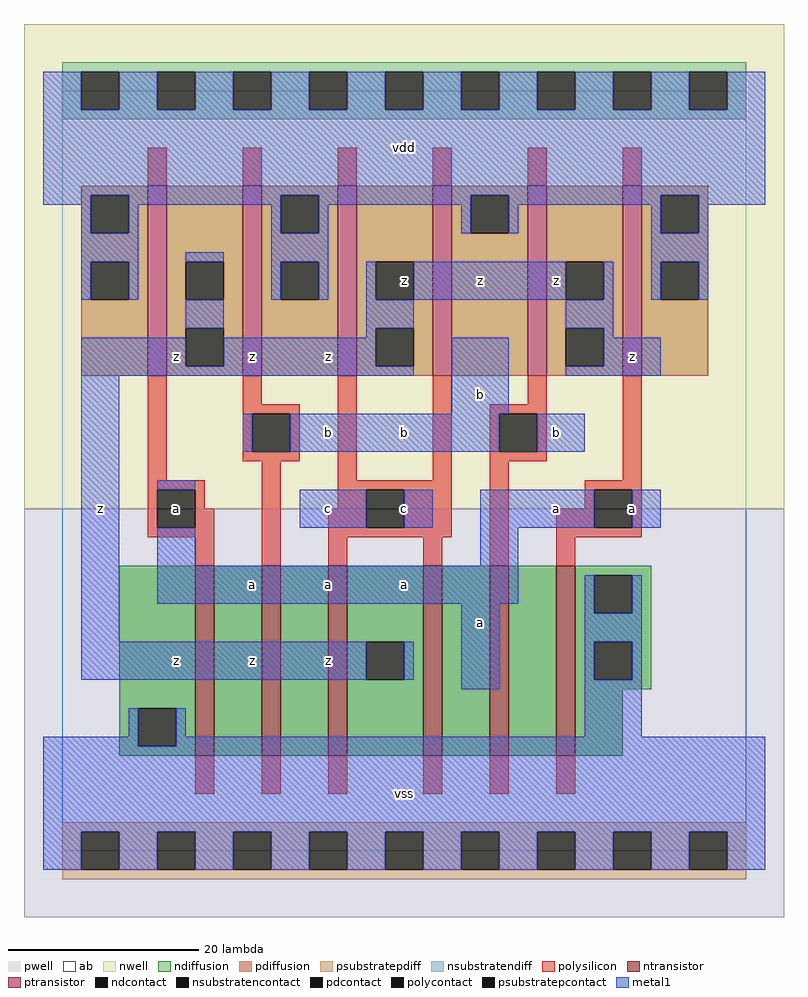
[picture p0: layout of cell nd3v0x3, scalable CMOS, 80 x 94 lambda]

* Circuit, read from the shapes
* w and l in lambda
.subckt nd3v0x3 a b c vdd vss z
M1 n1 a vss vss nfet w=20 l=2
M2 n2 b n1 vss nfet w=20 l=2
M3 z c n2 vss nfet w=20 l=2
M4 n3 c z vss nfet w=20 l=2
M5 n4 b n3 vss nfet w=20 l=2
M6 vss a n4 vss nfet w=20 l=2
M7 z a vdd vdd pfet w=20 l=2 m=2
M8 vdd b z vdd pfet w=20 l=2 m=2
M9 z c vdd vdd pfet w=20 l=2 m=2
.ends

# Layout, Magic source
magic
tech scmos
<< ab >>
rect 0 0 72 80
<< pwell >>
rect -4 -7 76 36
<< nwell >>
rect -4 36 76 87
<< polysilicon >>
rect 9 70 11 74
rect 19 70 21 74
rect 29 70 31 74
rect 39 70 41 74
rect 49 70 51 74
rect 59 70 61 74
rect 9 39 11 50
rect 19 47 21 50
rect 19 46 25 47
rect 19 42 20 46
rect 24 42 25 46
rect 19 41 25 42
rect 9 38 15 39
rect 9 34 10 38
rect 14 36 15 38
rect 14 34 16 36
rect 9 33 16 34
rect 14 30 16 33
rect 21 30 23 41
rect 29 39 31 50
rect 39 39 41 50
rect 49 47 51 50
rect 29 38 41 39
rect 29 36 32 38
rect 28 34 32 36
rect 36 34 41 38
rect 28 33 41 34
rect 45 46 51 47
rect 45 42 46 46
rect 50 42 51 46
rect 45 41 51 42
rect 28 30 30 33
rect 38 30 40 33
rect 45 30 47 41
rect 59 39 61 50
rect 55 38 61 39
rect 55 36 56 38
rect 52 34 56 36
rect 60 34 61 38
rect 52 33 61 34
rect 52 30 54 33
rect 14 6 16 10
rect 21 6 23 10
rect 28 6 30 10
rect 38 6 40 10
rect 45 6 47 10
rect 52 6 54 10
<< ndiffusion >>
rect 6 15 14 30
rect 6 11 8 15
rect 12 11 14 15
rect 6 10 14 11
rect 16 10 21 30
rect 23 10 28 30
rect 30 22 38 30
rect 30 18 32 22
rect 36 18 38 22
rect 30 10 38 18
rect 40 10 45 30
rect 47 10 52 30
rect 54 29 62 30
rect 54 25 56 29
rect 60 25 62 29
rect 54 22 62 25
rect 54 18 56 22
rect 60 18 62 22
rect 54 17 62 18
rect 54 10 59 17
<< pdiffusion >>
rect 2 69 9 70
rect 2 65 3 69
rect 7 65 9 69
rect 2 62 9 65
rect 2 58 3 62
rect 7 58 9 62
rect 2 50 9 58
rect 11 62 19 70
rect 11 58 13 62
rect 17 58 19 62
rect 11 55 19 58
rect 11 51 13 55
rect 17 51 19 55
rect 11 50 19 51
rect 21 69 29 70
rect 21 65 23 69
rect 27 65 29 69
rect 21 62 29 65
rect 21 58 23 62
rect 27 58 29 62
rect 21 50 29 58
rect 31 62 39 70
rect 31 58 33 62
rect 37 58 39 62
rect 31 55 39 58
rect 31 51 33 55
rect 37 51 39 55
rect 31 50 39 51
rect 41 69 49 70
rect 41 65 43 69
rect 47 65 49 69
rect 41 50 49 65
rect 51 62 59 70
rect 51 58 53 62
rect 57 58 59 62
rect 51 55 59 58
rect 51 51 53 55
rect 57 51 59 55
rect 51 50 59 51
rect 61 69 68 70
rect 61 65 63 69
rect 67 65 68 69
rect 61 62 68 65
rect 61 58 63 62
rect 67 58 68 62
rect 61 50 68 58
<< metal1 >>
rect -2 78 2 82
rect 6 78 10 82
rect 14 78 18 82
rect 22 78 26 82
rect 30 78 34 82
rect 38 78 42 82
rect 46 78 50 82
rect 54 78 58 82
rect 62 78 66 82
rect 70 78 74 82
rect -2 69 74 78
rect -2 68 3 69
rect 2 65 3 68
rect 7 68 23 69
rect 7 65 8 68
rect 2 62 8 65
rect 22 65 23 68
rect 27 68 43 69
rect 27 65 28 68
rect 42 65 43 68
rect 47 68 63 69
rect 47 65 48 68
rect 62 65 63 68
rect 67 68 74 69
rect 67 65 68 68
rect 2 58 3 62
rect 7 58 8 62
rect 13 62 17 63
rect 22 62 28 65
rect 62 62 68 65
rect 22 58 23 62
rect 27 58 28 62
rect 32 58 33 62
rect 37 58 53 62
rect 57 58 58 62
rect 62 58 63 62
rect 67 58 68 62
rect 13 55 17 58
rect 2 51 13 54
rect 32 55 37 58
rect 32 54 33 55
rect 17 51 33 54
rect 53 55 58 58
rect 2 50 37 51
rect 2 22 6 50
rect 41 46 47 54
rect 57 54 58 55
rect 57 51 63 54
rect 53 50 63 51
rect 19 42 20 46
rect 24 42 46 46
rect 50 42 55 46
rect 10 38 14 39
rect 25 34 32 38
rect 36 34 39 38
rect 44 34 56 38
rect 60 34 63 38
rect 10 30 14 34
rect 44 30 48 34
rect 10 26 48 30
rect 2 18 32 22
rect 36 18 37 22
rect 42 17 46 26
rect 55 25 56 29
rect 60 25 61 29
rect 55 22 61 25
rect 55 18 56 22
rect 60 18 61 22
rect 7 12 8 15
rect -2 11 8 12
rect 12 12 13 15
rect 55 12 61 18
rect 12 11 74 12
rect -2 2 74 11
rect -2 -2 2 2
rect 6 -2 10 2
rect 14 -2 18 2
rect 22 -2 26 2
rect 30 -2 34 2
rect 38 -2 42 2
rect 46 -2 50 2
rect 54 -2 58 2
rect 62 -2 66 2
rect 70 -2 74 2
<< ntransistor >>
rect 14 10 16 30
rect 21 10 23 30
rect 28 10 30 30
rect 38 10 40 30
rect 45 10 47 30
rect 52 10 54 30
<< ptransistor >>
rect 9 50 11 70
rect 19 50 21 70
rect 29 50 31 70
rect 39 50 41 70
rect 49 50 51 70
rect 59 50 61 70
<< polycontact >>
rect 20 42 24 46
rect 10 34 14 38
rect 32 34 36 38
rect 46 42 50 46
rect 56 34 60 38
<< ndcontact >>
rect 8 11 12 15
rect 32 18 36 22
rect 56 25 60 29
rect 56 18 60 22
<< pdcontact >>
rect 3 65 7 69
rect 3 58 7 62
rect 13 58 17 62
rect 13 51 17 55
rect 23 65 27 69
rect 23 58 27 62
rect 33 58 37 62
rect 33 51 37 55
rect 43 65 47 69
rect 53 58 57 62
rect 53 51 57 55
rect 63 65 67 69
rect 63 58 67 62
<< psubstratepcontact >>
rect 2 -2 6 2
rect 10 -2 14 2
rect 18 -2 22 2
rect 26 -2 30 2
rect 34 -2 38 2
rect 42 -2 46 2
rect 50 -2 54 2
rect 58 -2 62 2
rect 66 -2 70 2
<< nsubstratencontact >>
rect 2 78 6 82
rect 10 78 14 82
rect 18 78 22 82
rect 26 78 30 82
rect 34 78 38 82
rect 42 78 46 82
rect 50 78 54 82
rect 58 78 62 82
rect 66 78 70 82
<< psubstratepdiff >>
rect 0 2 72 3
rect 0 -2 2 2
rect 6 -2 10 2
rect 14 -2 18 2
rect 22 -2 26 2
rect 30 -2 34 2
rect 38 -2 42 2
rect 46 -2 50 2
rect 54 -2 58 2
rect 62 -2 66 2
rect 70 -2 72 2
rect 0 -3 72 -2
<< nsubstratendiff >>
rect 0 82 72 83
rect 0 78 2 82
rect 6 78 10 82
rect 14 78 18 82
rect 22 78 26 82
rect 30 78 34 82
rect 38 78 42 82
rect 46 78 50 82
rect 54 78 58 82
rect 62 78 66 82
rect 70 78 72 82
rect 0 77 72 78
<< labels >>
rlabel metal1 4 36 4 36 6 z
rlabel metal1 12 20 12 20 6 z
rlabel metal1 20 20 20 20 6 z
rlabel metal1 20 28 20 28 6 a
rlabel polycontact 12 36 12 36 6 a
rlabel metal1 20 52 20 52 6 z
rlabel metal1 12 52 12 52 6 z
rlabel metal1 36 6 36 6 6 vss
rlabel metal1 28 20 28 20 6 z
rlabel metal1 28 28 28 28 6 a
rlabel metal1 36 28 36 28 6 a
rlabel metal1 28 36 28 36 6 c
rlabel metal1 28 44 28 44 6 b
rlabel metal1 36 36 36 36 6 c
rlabel metal1 36 44 36 44 6 b
rlabel metal1 28 52 28 52 6 z
rlabel pdcontact 36 60 36 60 6 z
rlabel metal1 36 74 36 74 6 vdd
rlabel metal1 44 24 44 24 6 a
rlabel metal1 52 36 52 36 6 a
rlabel metal1 52 44 52 44 6 b
rlabel metal1 44 48 44 48 6 b
rlabel metal1 44 60 44 60 6 z
rlabel metal1 52 60 52 60 6 z
rlabel metal1 60 36 60 36 6 a
rlabel metal1 60 52 60 52 6 z
<< end >>
